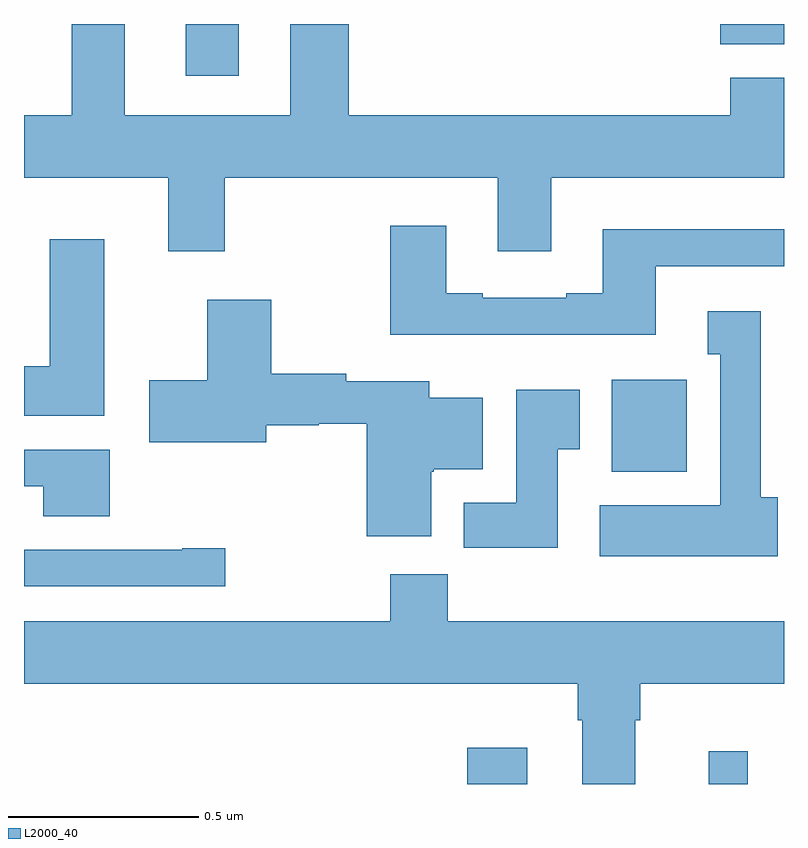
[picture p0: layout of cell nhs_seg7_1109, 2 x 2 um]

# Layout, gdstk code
import gdstk
lib = gdstk.Library(unit=1e-6, precision=1e-09)
def R(c, l, rs):  # rectangles x0, y0, x1, y1
    for r in rs: c.add(gdstk.rectangle(r[:2], r[2:], *l))
def P(c, l, *ps):  # polygons
    for p in ps: c.add(gdstk.Polygon(p, *l))
L2000_40 = (2000, 40)

nhs_seg7_1109 = lib.new_cell('nhs_seg7_1109')
R(nhs_seg7_1109, L2000_40, [(127.166,1019,127.324,1019.095), (127.802,1019,127.904,1019.086), (127.547,1019.822,127.744,1020.064), (126.425,1020.864,126.565,1021), (127.832,1020.947,128,1021)])
P(nhs_seg7_1109, L2000_40, [(126.528,1020.596),(127.247,1020.596),(127.247,1020.402),(127.387,1020.402),(127.387,1020.596),(128,1020.596),(128,1020.859),(127.859,1020.859),(127.859,1020.76),(126.854,1020.76),(126.854,1021),(126.701,1021),(126.701,1020.76),(126.265,1020.76),(126.265,1021),(126.125,1021),(126.125,1020.76),(126,1020.76),(126,1020.596),(126.38,1020.596),(126.38,1020.402),(126.528,1020.402)],
  [(127.663,1020.363),(128,1020.363),(128,1020.46),(127.523,1020.46),(127.523,1020.292),(127.427,1020.292),(127.427,1020.279),(127.207,1020.279),(127.207,1020.292),(127.111,1020.292),(127.111,1020.469),(126.964,1020.469),(126.964,1020.182),(127.663,1020.182)],
  [(126.211,1020.433),(126.068,1020.433),(126.068,1020.1),(126,1020.1),(126,1019.969),(126.211,1019.969)],
  [(127.072,1019.822),(127.078,1019.822),(127.078,1019.828),(127.207,1019.828),(127.207,1020.016),(127.066,1020.016),(127.066,1020.06),(126.848,1020.06),(126.848,1020.08),(126.65,1020.08),(126.65,1020.274),(126.482,1020.274),(126.482,1020.063),(126.33,1020.063),(126.33,1019.9),(126.637,1019.9),(126.637,1019.944),(126.776,1019.944),(126.776,1019.948),(126.902,1019.948),(126.902,1019.652),(127.072,1019.652)],
  [(127.984,1019.754),(127.939,1019.754),(127.939,1020.244),(127.799,1020.244),(127.799,1020.131),(127.832,1020.131),(127.832,1019.734),(127.515,1019.734),(127.515,1019.6),(127.984,1019.6)],
  [(127.405,1019.881),(127.462,1019.881),(127.462,1020.037),(127.295,1020.037),(127.295,1019.74),(127.157,1019.74),(127.157,1019.622),(127.405,1019.622)],
  [(126.226,1019.88),(126,1019.88),(126,1019.784),(126.05,1019.784),(126.05,1019.705),(126.226,1019.705)],
  [(126.529,1019.621),(126.416,1019.621),(126.416,1019.616),(126,1019.616),(126,1019.52),(126.529,1019.52)],
  [(127.609,1019.168),(127.622,1019.168),(127.622,1019.264),(128,1019.264),(128,1019.428),(127.115,1019.428),(127.115,1019.552),(126.964,1019.552),(126.964,1019.428),(126,1019.428),(126,1019.264),(127.457,1019.264),(127.457,1019.168),(127.469,1019.168),(127.469,1019),(127.609,1019)])

lib.write_gds('nhs_seg7_1109.gds')
